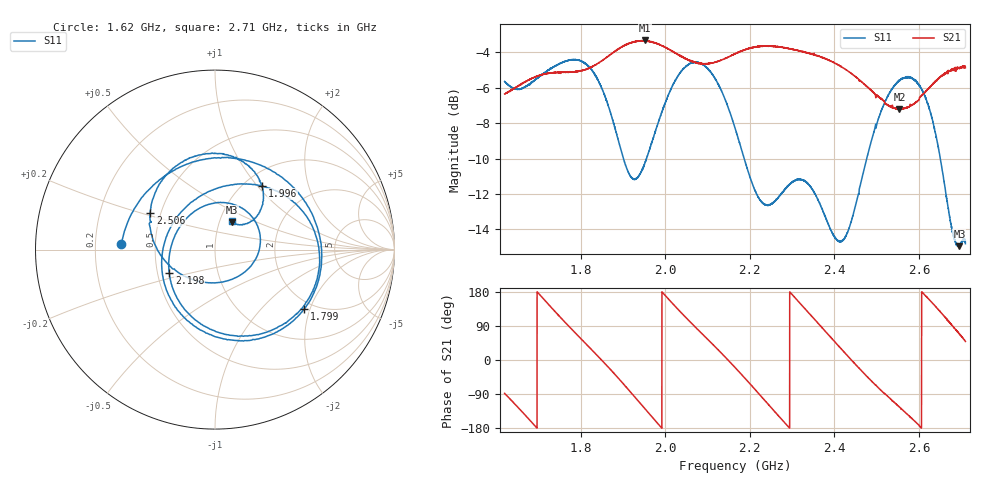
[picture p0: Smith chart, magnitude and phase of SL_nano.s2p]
# HZ S RI R 50
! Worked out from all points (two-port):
!   5050 points, 1.62 GHz to 2.71 GHz, reference 50 ohm
!   highest |S21| = -3.33 dB at 1.952 GHz (marker M1); lowest = -7.2 dB at 2.554 GHz (marker M2)
!   |S21| within 3 dB of the highest: 1.622 GHz to 2.495 GHz (872.9 MHz wide, 42.4 % of centre); 2.611 GHz to end of sweep
!   lowest |S11| = -14.9 dB at 2.696 GHz (marker M3), VSWR 1.44, Z = 57.4 + j18 ohm
!   |S11| at or under -10 dB: 1.901 GHz to 1.955 GHz (54.18 MHz wide, 2.81 % of centre); 2.187 GHz to 2.477 GHz (289.9 MHz wide, 12.4 % of centre); 2.651 GHz to end of sweep
!   S12 and S22 are empty: the file has one direction only
!   S11 on the Smith chart (normalised r, x): 1.62 GHz: 0.31, +0.03; 1.799 GHz: 1.78, -1.82; 1.996 GHz: 1.20, +1.06; 2.198 GHz: 0.58, -0.16; 2.506 GHz: 0.44, +0.21; 2.71 GHz: 1.14, +0.37
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1.62e9  -0.5212 0.0334  0.0176 -0.4809  0 0  0 0
1.705274e9  0.3225 0.4359  -0.5356 0.0984  0 0  0 0
1.7994e9  0.4967 -0.3306  0.3014 0.4714  0 0  0 0
1.801774e9  0.4825 -0.3496  0.3243 0.4567  0 0  0 0
1.872153e9  -0.1618 -0.3878  0.5543 -0.2868  0 0  0 0
1.914898e9  -0.2842 0.0282  0.1052 -0.6608  0 0  0 0
1.952245e9  -0.083 0.2973  -0.4303 -0.5285  0 0  0 0
1.983333e9  0.1604 0.3655  -0.6535 -0.1274  0 0  0 0
1.995854e9  0.263 0.3546  -0.6532 0.053  0 0  0 0
2.073572e9  0.5544 -0.2084  0.0602 0.5866  0 0  0 0
2.165107e9  -0.1503 -0.3554  0.5884 -0.211  0 0  0 0
2.198137e9  -0.2551 -0.1291  0.3226 -0.561  0 0  0 0
2.236349e9  -0.2104 0.1024  -0.2024 -0.6245  0 0  0 0
2.279742e9  -0.0239 0.2549  -0.6191 -0.2015  0 0  0 0
2.346666e9  0.2529 0.0624  -0.2669 0.5633  0 0  0 0
2.426759e9  -0.0532 -0.1834  0.5401 0.1623  0 0  0 0
2.505772e9  -0.3609 0.2034  0.1209 -0.4548  0 0  0 0
2.52844e9  -0.3042 0.3707  -0.0632 -0.442  0 0  0 0
2.553914e9  -0.1628 0.4973  -0.2451 -0.3596  0 0  0 0
2.628394e9  0.2678 0.3267  -0.4582 0.2176  0 0  0 0
2.695966e9  0.0941 0.1522  0.2112 0.526  0 0  0 0
2.709998e9  0.0924 0.1567  0.3753 0.4307  0 0  0 0
